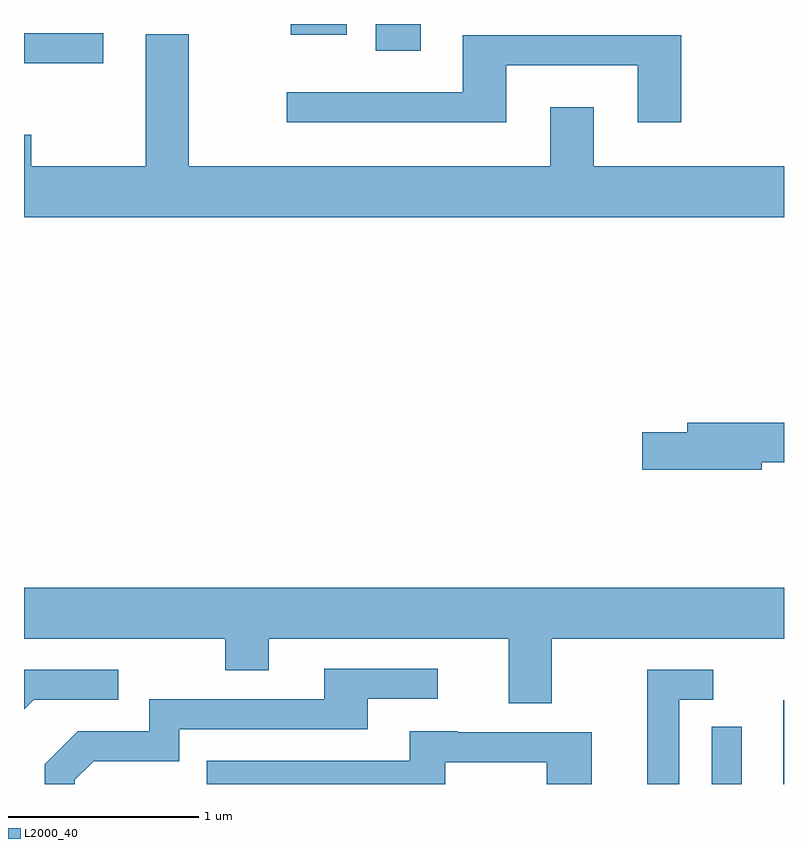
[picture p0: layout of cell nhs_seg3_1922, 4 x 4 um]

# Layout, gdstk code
import gdstk
lib = gdstk.Library(unit=1e-6, precision=1e-09)
def R(c, l, rs):  # rectangles x0, y0, x1, y1
    for r in rs: c.add(gdstk.rectangle(r[:2], r[2:], *l))
def P(c, l, *ps):  # polygons
    for p in ps: c.add(gdstk.Polygon(p, *l))
L2000_40 = (2000, 40)

nhs_seg3_1922 = lib.new_cell('nhs_seg3_1922')
R(nhs_seg3_1922, L2000_40, [(245.231,1151.892,245.389,1152.193), (245.606,1151.892,245.611,1152.334), (241.611,1155.686,242.028,1155.844), (243.461,1155.751,243.698,1155.892), (243.016,1155.836,243.309,1155.892)])
P(nhs_seg3_1922, L2000_40, [(245.611,1155.144),(244.609,1155.144),(244.609,1155.454),(244.381,1155.454),(244.381,1155.144),(242.479,1155.144),(242.479,1155.839),(242.251,1155.839),(242.251,1155.144),(241.649,1155.144),(241.649,1155.309),(241.611,1155.309),(241.611,1154.876),(245.611,1154.876)],
  [(244.149,1155.676),(244.841,1155.676),(244.841,1155.376),(245.069,1155.376),(245.069,1155.834),(243.921,1155.834),(243.921,1155.534),(242.993,1155.534),(242.993,1155.376),(244.149,1155.376)],
  [(245.494,1153.586),(245.611,1153.586),(245.611,1153.794),(245.101,1153.794),(245.101,1153.744),(244.866,1153.744),(244.866,1153.546),(245.494,1153.546)],
  [(244.389,1152.656),(245.611,1152.656),(245.611,1152.924),(241.611,1152.924),(241.611,1152.656),(242.671,1152.656),(242.671,1152.491),(242.899,1152.491),(242.899,1152.656),(244.161,1152.656),(244.161,1152.316),(244.389,1152.316)],
  [(241.879,1151.914),(241.977,1152.011),(242.429,1152.011),(242.429,1152.181),(243.419,1152.181),(243.419,1152.341),(243.788,1152.341),(243.788,1152.499),(243.191,1152.499),(243.191,1152.339),(242.271,1152.339),(242.271,1152.169),(241.894,1152.169),(241.721,1151.997),(241.721,1151.892),(241.879,1151.892)],
  [(245.059,1152.336),(245.238,1152.336),(245.238,1152.494),(244.891,1152.494),(244.891,1151.892),(245.059,1151.892)],
  [(241.662,1152.336),(242.108,1152.336),(242.108,1152.494),(241.611,1152.494),(241.611,1152.286)],
  [(243.829,1152.006),(244.361,1152.006),(244.361,1151.892),(244.599,1151.892),(244.599,1152.164),(243.895,1152.164),(243.895,1152.169),(243.641,1152.169),(243.641,1152.014),(242.573,1152.014),(242.573,1151.892),(243.829,1151.892)])

lib.write_gds('nhs_seg3_1922.gds')
